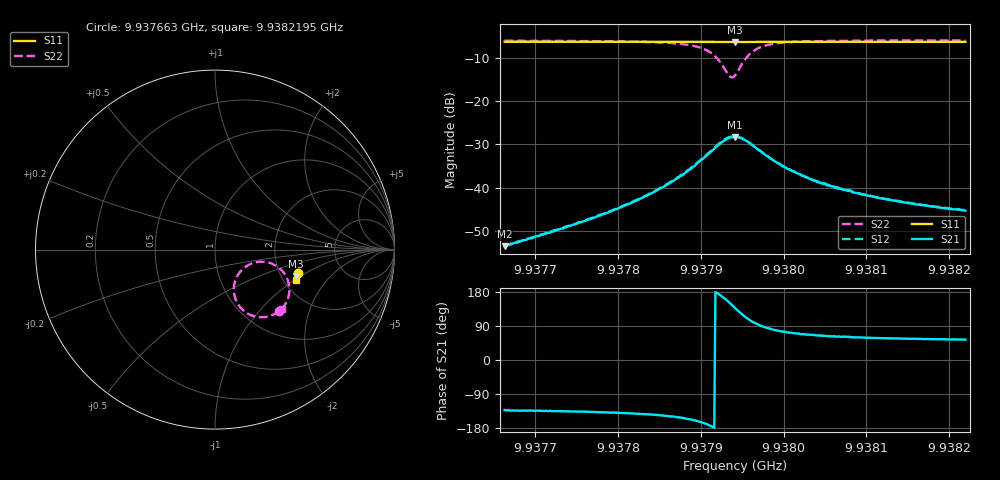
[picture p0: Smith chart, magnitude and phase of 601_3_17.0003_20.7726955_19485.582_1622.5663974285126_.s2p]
#  HZ  S  RI  R  50.00
! Rohde & Schwarz Vector Network Analyzer
! Rohde-Schwarz,ZNB20-2Port,1311601062101988,3.16
! Created: UTC 3/20/2024, 11:19:02 PM
! freq[Hz]  re:S11  im:S11  re:S21  im:S21  re:S12  im:S12  re:S22  im:S22
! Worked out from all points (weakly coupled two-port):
!   401 points, 9.937663 GHz to 9.9382195 GHz, reference 50 ohm
!   highest |S21| = -28.27 dB at 9.9379413 GHz (marker M1); lowest = -53.4 dB at 9.937663 GHz (marker M2)
!   lowest |S11| = -6.4 dB at 9.9379413 GHz (marker M3), VSWR 2.82, Z = 120 - j46 ohm
!   |S11| at or under -10 dB: nowhere
!   |S22| runs from -14.6 to -6.1 dB; largest |S21 - S12| = 0.0018
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9.93766302e9  0.4636 -0.132  -0.00142 -0.00158  -0.0015 -0.00157  0.356 -0.3436
9.93775623e9  0.4612 -0.1385  -0.00293 -0.00279  -0.003 -0.00277  0.3381 -0.3556
9.93781606e9  0.4596 -0.1426  -0.00521 -0.00422  -0.00537 -0.00422  0.3147 -0.3666
9.93784945e9  0.4584 -0.145  -0.00797 -0.00544  -0.0082 -0.00543  0.2897 -0.374
9.93787031e9  0.4574 -0.1465  -0.011 -0.00614  -0.0114 -0.00618  0.2628 -0.377
9.93788701e9  0.4566 -0.1476  -0.015 -0.00645  -0.0155 -0.00645  0.2294 -0.3738
9.93790788e9  0.4549 -0.1491  -0.0236 -0.0042  -0.0243 -0.00371  0.1628 -0.3431
9.93791762e9  0.454 -0.1493  -0.0289 0.000358  -0.0297 0.000936  0.1254 -0.2994
9.93792736e9  0.4531 -0.1489  -0.0332 0.00906  -0.034 0.0103  0.1047 -0.2221
9.9379357e9  0.4527 -0.1483  -0.0325 0.0195  -0.0325 0.0211  0.1289 -0.1392
9.93793849e9  0.4528 -0.1479  -0.0307 0.023  -0.0305 0.0247  0.1484 -0.1145
9.93794127e9  0.4528 -0.1477  -0.0284 0.0261  -0.0279 0.0277  0.1726 -0.0942
9.93794822e9  0.4536 -0.1474  -0.0204 0.0312  -0.0198 0.0323  0.2428 -0.0683
9.93795657e9  0.4544 -0.1474  -0.011 0.032  -0.0101 0.0327  0.3184 -0.0791
9.93796353e9  0.455 -0.1479  -0.00504 0.0298  -0.00414 0.0303  0.3612 -0.1052
9.93797048e9  0.4554 -0.1487  -0.000923 0.027  -0.000288 0.0273  0.3872 -0.1346
9.93798161e9  0.4557 -0.15  0.00238 0.0226  0.00315 0.0226  0.4072 -0.1758
9.93799831e9  0.4556 -0.1516  0.00462 0.0172  0.00499 0.0174  0.4143 -0.2193
9.93803448e9  0.4547 -0.1545  0.00495 0.0112  0.00533 0.0113  0.4073 -0.2689
9.93806509e9  0.4541 -0.1569  0.00468 0.00869  0.00496 0.00886  0.3993 -0.2896
9.9381277e9  0.4523 -0.1611  0.00395 0.0061  0.00407 0.00613  0.3863 -0.3121
9.93821952e9  0.4499 -0.1672  0.00322 0.00439  0.00336 0.00441  0.3735 -0.3288
